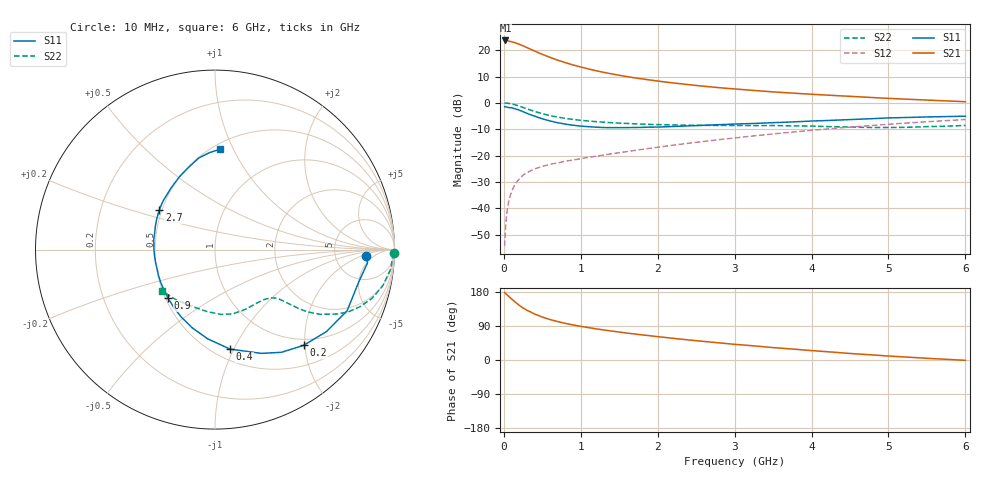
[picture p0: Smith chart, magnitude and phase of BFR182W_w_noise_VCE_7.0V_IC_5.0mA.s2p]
! Infineon Technologies  Discrete & RF Semiconductors
! BFR182W
! VCE =  7.0 V,  IC =  5.0 mA
! Common Emitter S-Parameters:  Jan 2017
# GHz  S  MA  R  50
!  f  S11  S21  S12  S22
! GHz  MAG  ANG  MAG  ANG  MAG  ANG  MAG  ANG
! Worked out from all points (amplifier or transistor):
!   77 points, 10 MHz to 6 GHz, reference 50 ohm
!   highest |S21| = 23.7 dB at 20 MHz (marker M1)
!   |S21| within 3 dB of that: start of sweep to 321.7 MHz
!   unconditionally stable (mu >= 1): 1.371 GHz to 2.834 GHz
!   at 130 MHz: K = 0.18, MSG = 27.4 dB, |S12| = -31.8 dB
!   at 2.2 GHz: K = 1.05, MAG = 10.5 dB, |S12| = -16.1 dB
!   at 6 GHz: K = 0.83, MSG = 3.4 dB, |S12| = -6.3 dB
!   lowest NFmin = 0.88 dB at 450 MHz
!   S11 on the Smith chart (normalised r, x): 10 MHz: 11, -3; 200 MHz: 0.87, -1.97; 400 MHz: 0.60, -0.97; 900 MHz: 0.52, -0.32; 2.7 GHz: 0.48, +0.25; 6 GHz: 0.55, +0.89
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0.01  0.8429 -2.6  15.27 177.8  0.0019 84.3  1 -1.2
0.02  0.8528 -5.0  15.33 176.1  0.0037 93.2  0.9902 -2.6
0.05  0.8215 -12.5  15.09 170.3  0.0107 81.5  0.9854 -6.2
0.1  0.8111 -24.9  14.55 161.1  0.0205 76.3  0.957 -12.1
0.15  0.7709 -36.3  13.81 152.4  0.0294 71.8  0.9155 -17.3
0.2  0.7271 -47.2  12.98 144.4  0.0357 67.3  0.8679 -21.5
0.25  0.6815 -57.1  12.13 137.2  0.0426 63.7  0.8193 -25.1
0.3  0.6335 -65.9  11.21 131.2  0.0472 60.5  0.7692 -27.8
0.4  0.5611 -81.3  9.675 121.1  0.0558 56.2  0.6879 -31.6
0.5  0.4989 -94.7  8.352 113.3  0.0622 54.1  0.6232 -33.9
0.6  0.4537 -106.3  7.324 106.8  0.0682 53.1  0.5737 -35.1
0.7  0.4201 -116.6  6.481 101.4  0.0722 53.6  0.537 -35.7
0.9  0.3762 -134.2  5.247 92.5  0.0823 54.0  0.4853 -36.8
1.1  0.3533 -149.1  4.413 85.5  0.0924 55.6  0.4523 -37.6
1.3  0.3399 -161.6  3.795 79.2  0.1023 57.3  0.4298 -38.9
1.6  0.3392 -177.2  3.156 71.0  0.1188 59.0  0.4072 -41.7
2.1  0.351 162.6  2.494 59.5  0.1505 60.7  0.3838 -48.7
2.7  0.3801 144.7  2.006 47.1  0.1929 60.4  0.3737 -59.7
3.1  0.4001 134.6  1.791 39.8  0.2238 59.2  0.3714 -67.1
4.1  0.4571 114.3  1.432 23.4  0.3102 53.4  0.3586 -87.0
5.1  0.5222 98.7  1.199 9.3  0.4017 44.8  0.3418 -115.5
6  0.5591 87.3  1.053 -0.9  0.4828 35.5  0.3733 -141.7
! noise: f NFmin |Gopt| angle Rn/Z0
0.45  0.88  0.26  32  0.17
0.9  0.98  0.21  59  0.16
1.9  1.55  0.19  162  0.13
2.4  1.83  0.21  176  0.17
